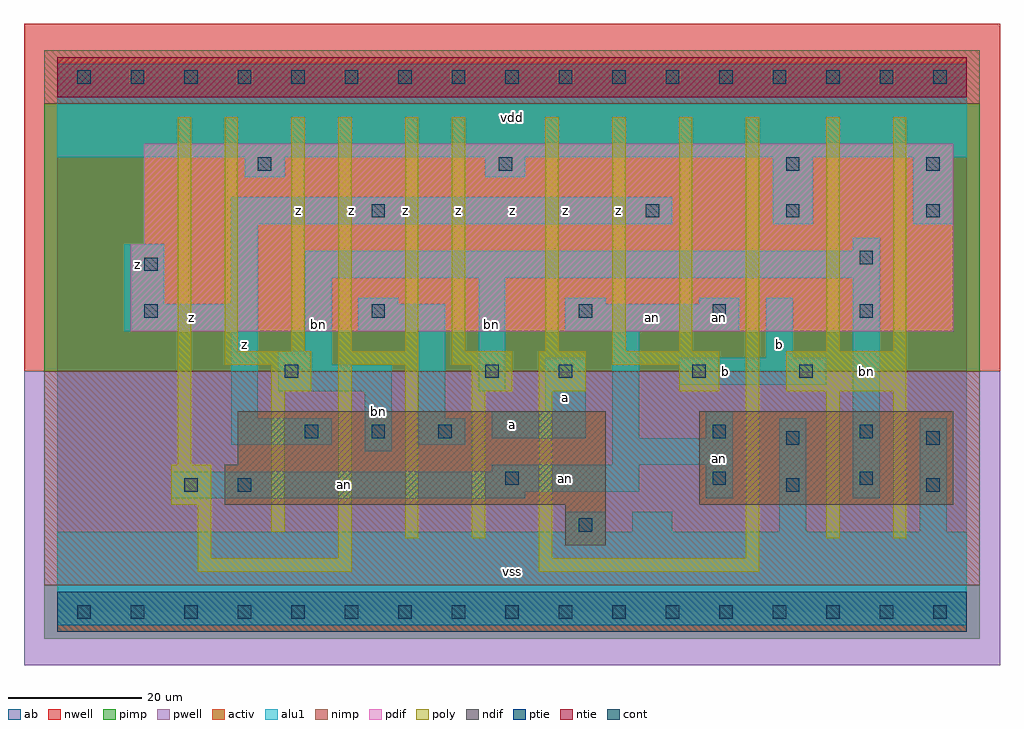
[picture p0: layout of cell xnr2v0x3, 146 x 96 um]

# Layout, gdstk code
import gdstk
lib = gdstk.Library(unit=1e-6, precision=1e-09)
def R(c, l, rs):  # rectangles x0, y0, x1, y1
    for r in rs: c.add(gdstk.rectangle(r[:2], r[2:], *l))
def A(c, l, x, y, w, h, nx, ny, dx, dy):  # array of equal rectangles
    R(c, l, [(x+i*dx, y+j*dy, x+i*dx+w, y+j*dy+h) for i in range(nx) for j in range(ny)])
ndif = (3, 0)
pdif = (4, 0)
ntie = (5, 0)
ptie = (6, 0)
cont = (25, 0)
pwell = (41, 0)
nwell = (42, 0)
activ = (43, 0)
pimp = (44, 0)
nimp = (45, 0)
poly = (46, 0)
alu1 = (49, 0)
ab = (63, 0)

xnr2v0x3 = lib.new_cell('xnr2v0x3')
R(xnr2v0x3, ndif, [(76,10,82,16), (25,16,82,22), (96,16,134,30), (27,22,82,30)])
R(xnr2v0x3, pdif, [(11,42,134,55), (13,55,134,70)])
R(xnr2v0x3, ntie, [(0,77,136,83)])
R(xnr2v0x3, ptie, [(0,-3,136,3)])
A(xnr2v0x3, cont, 3, -1, 2, 2, 17, 2, 8, 80)
A(xnr2v0x3, cont, 37, 26, 2, 2, 3, 1, 10, 0)
A(xnr2v0x3, cont, 88, 59, 2, 2, 3, 1, 21, 0)
R(xnr2v0x3, cont, [(78,12,80,14), (19,18,21,20), (27,18,29,20), (109,18,111,20), (130,18,132,20), (67,19,69,21), (98,19,100,21), (120,19,122,21), (109,25,111,27), (130,25,132,27), (98,26,100,28), (120,26,122,28), (34,35,36,37), (64,35,66,37), (75,35,77,37), (95,35,97,37), (111,35,113,37), (13,44,15,46), (47,44,49,46), (78,44,80,46), (98,44,100,46), (120,44,122,46), (13,51,15,53), (120,52,122,54), (47,59,49,61), (30,66,32,68), (66,66,68,68), (109,66,111,68), (130,66,132,68)])
R(xnr2v0x3, pwell, [(-5,-8,141,36)])
R(xnr2v0x3, nwell, [(-5,36,141,88)])
R(xnr2v0x3, activ, [(0,-3,136,3), (76,10,82,16), (25,16,82,22), (96,16,134,30), (27,22,82,30), (11,42,134,55), (13,55,134,70), (0,77,136,83)])
R(xnr2v0x3, pimp, [(-2,-4,138,4), (-2,36,138,76)])
R(xnr2v0x3, nimp, [(-2,4,138,36), (-2,76,138,84)])
A(xnr2v0x3, poly, 73, 39, 2, 35, 3, 1, 10, 0)
R(xnr2v0x3, poly, [(21,6,44,8), (72,6,105,8), (21,8,23,16), (42,8,44,37), (72,8,74,33), (103,8,105,74), (52,11,54,37), (62,11,64,33), (115,11,117,33), (125,11,127,33), (32,12,34,33), (17,16,23,22), (18,22,20,74), (32,33,38,37), (62,33,68,37), (72,33,79,39), (93,33,99,37), (109,33,127,39), (25,37,38,39), (42,37,54,39), (59,37,68,39), (83,37,99,39), (25,39,27,74), (35,39,37,74), (42,39,44,74), (52,39,54,74), (59,39,61,74), (115,39,117,74), (125,39,127,74)])
R(xnr2v0x3, alu1, [(0,-2,136,12), (76,12,82,15), (86,12,92,15), (108,12,112,29), (129,12,133,29), (17,17,70,18), (97,17,101,22), (119,17,123,50), (17,18,87,21), (65,21,87,22), (83,22,101,26), (46,24,50,33), (26,25,41,29), (54,25,61,29), (65,26,79,30), (83,26,87,42), (97,26,101,30), (26,29,30,42), (54,29,58,42), (73,30,79,38), (33,33,50,37), (63,33,67,50), (93,34,115,38), (33,37,41,39), (106,38,110,47), (37,39,41,50), (10,42,30,46), (45,42,58,46), (76,42,102,46), (10,46,16,55), (26,46,30,58), (45,46,51,47), (76,46,82,47), (96,46,102,47), (37,50,123,54), (119,54,123,56), (26,58,92,62), (107,58,113,68), (128,58,134,68), (28,65,34,68), (64,65,70,68), (0,68,136,82)])
R(xnr2v0x3, ab, [(0,0,136,80)])
xnr2v0x3.add(gdstk.Label('bn', (48,30), layer=49, texttype=0))
xnr2v0x3.add(gdstk.Label('bn', (39,43), layer=49, texttype=0))
xnr2v0x3.add(gdstk.Label('an', (43,19), layer=49, texttype=0))
xnr2v0x3.add(gdstk.Label('bn', (65,43), layer=49, texttype=0))
xnr2v0x3.add(gdstk.Label('an', (76,20), layer=49, texttype=0))
xnr2v0x3.add(gdstk.Label('an', (99,23), layer=49, texttype=0))
xnr2v0x3.add(gdstk.Label('an', (89,44), layer=49, texttype=0))
xnr2v0x3.add(gdstk.Label('an', (99,44), layer=49, texttype=0))
xnr2v0x3.add(gdstk.Label('bn', (121,36), layer=49, texttype=0))
xnr2v0x3.add(gdstk.Label('z', (28,40), layer=49, texttype=0))
xnr2v0x3.add(gdstk.Label('z', (20,44), layer=49, texttype=0))
xnr2v0x3.add(gdstk.Label('z', (12,52), layer=49, texttype=0))
xnr2v0x3.add(gdstk.Label('z', (44,60), layer=49, texttype=0))
xnr2v0x3.add(gdstk.Label('z', (52,60), layer=49, texttype=0))
xnr2v0x3.add(gdstk.Label('z', (60,60), layer=49, texttype=0))
xnr2v0x3.add(gdstk.Label('z', (36,60), layer=49, texttype=0))
xnr2v0x3.add(gdstk.Label('vss', (68,6), layer=49, texttype=0))
xnr2v0x3.add(gdstk.Label('a', (68,28), layer=49, texttype=0))
xnr2v0x3.add(gdstk.Label('b', (100,36), layer=49, texttype=0))
xnr2v0x3.add(gdstk.Label('a', (76,32), layer=49, texttype=0))
xnr2v0x3.add(gdstk.Label('z', (76,60), layer=49, texttype=0))
xnr2v0x3.add(gdstk.Label('z', (84,60), layer=49, texttype=0))
xnr2v0x3.add(gdstk.Label('z', (68,60), layer=49, texttype=0))
xnr2v0x3.add(gdstk.Label('vdd', (68,74), layer=49, texttype=0))
xnr2v0x3.add(gdstk.Label('b', (108,40), layer=49, texttype=0))

lib.write_gds('xnr2v0x3.gds')
